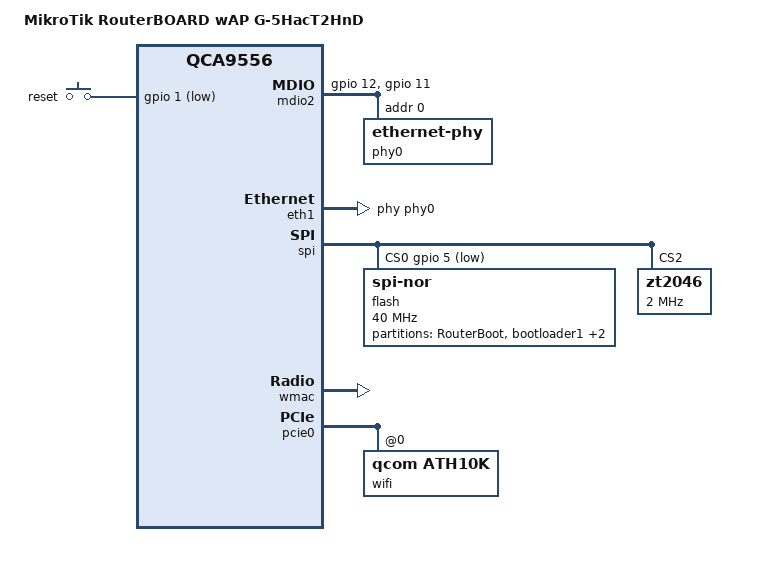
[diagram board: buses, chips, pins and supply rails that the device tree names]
// SPDX-License-Identifier: GPL-2.0-or-later OR MIT

#include "qca955x.dtsi"

#include <dt-bindings/gpio/gpio.h>
#include <dt-bindings/input/input.h>
#include <dt-bindings/interrupt-controller/irq.h>

/ {
	compatible = "mikrotik,routerboard-wap-g-5hact2hnd", "qca,qca9556";
	model = "MikroTik RouterBOARD wAP G-5HacT2HnD";

	chosen {
		bootargs = "console=ttyS0,115200n8 dyndbg=\"file drivers/net/phy/at803x.c +p\"";
	};

	aliases {
		mdio-gpio1 = &mdio2;
	};

	keys {
		compatible = "gpio-keys";

		reset {
			label = "reset";
			linux,code = <KEY_RESTART>;
			gpios = <&gpio 1 GPIO_ACTIVE_LOW>;
			debounce-interval = <60>;
		};
	};

	mdio2: mdio {
		compatible = "virtual,mdio-gpio";

		gpios = <&gpio 12 GPIO_ACTIVE_HIGH>, /* MDC */
			<&gpio 11 GPIO_ACTIVE_HIGH>; /* MDIO */
		#address-cells = <1>;
		#size-cells = <0>;

		phy0: ethernet-phy@0 {
			reg = <0>;
			device_type = "ethernet-phy";

			phy-mode = "sgmii";

			at803x-override-sgmii-link-check;
		};
	};
};

&eth1 {
	status = "okay";

	pll-data = <0x03000101 0x80000101 0x80001313>;
	phy-handle = <&phy0>;

	qca955x-sgmii-fixup;

	gmac-config {
		device = <&gmac>;
	};
};

&spi {
	status = "okay";

	// driver does not support cs-gpios, requires cs2 set via pinmux
	cs-gpios = <&gpio 5 GPIO_ACTIVE_LOW>, <&gpio 17 GPIO_ACTIVE_LOW>;

	flash@0 {
		compatible = "jedec,spi-nor";
		reg = <0>;
		spi-max-frequency = <40000000>;

		partitions {
			compatible = "fixed-partitions";
			#address-cells = <1>;
			#size-cells = <1>;

			partition@0 {
				label = "RouterBoot";
				reg = <0x0 0x20000>;
				compatible = "mikrotik,routerboot-partitions";
				#address-cells = <1>;
				#size-cells = <1>;

				partition@0 {
					label = "bootloader1";
					reg = <0x0 0x0>;
					read-only;
				};

				hard_config {
					read-only;
				};

				bios {
					size = <0x1000>;
					read-only;
				};

				partition@10000 {
					label = "bootloader2";
					reg = <0x10000 0x0>;
					read-only;
				};

				soft_config {
				};
			};

			partition@20000 {
				compatible = "mikrotik,minor";
				label = "firmware";
				reg = <0x020000 0xfe0000>;
			};
		};
	};

	zt2046@2 {
		reg = <2>;
		/* when driver loads, NOR no longer functions (false instant operations, all-zero reads) */
		// compatible = "zt2046q", "ti,ads7846";
		spi-max-frequency = <2000000>;
		pinctrl-names = "default";
		pinctrl-0 = <&pinmux_spi_cs2>;
		/* driver requires irq & pendown gpio.
		 * provide two unused GPIOs as dummy
		 */
		// interrupts-extended = <&gpio 22 IRQ_TYPE_NONE>;
		// pendown-gpio = <&gpio 23 GPIO_ACTIVE_LOW>;
	};
};

&wmac {
	status = "okay";

	qca,no-eeprom;
};

&pcie0 {
	status = "okay";

	wifi@0,0 {
		compatible = "qcom,ath10k";
		reg = <0 0 0 0 0>;
	};
};

&pinmux {
	pinmux_spi_cs2: pinmux_spi_cs2 {
		/* set SoC GPIOs functions
		 * each GPIO output function register holds 4 gpios,
		 * 8 bits per GPIO
		 * GPIO17 at register 0x1804003c (offset 0x10)
		 * to function 0xb (CS2),
		 * with mask 0x0000ff00 (do not alter GPIOS 16,18,19)
		 */
		pinctrl-single,bits = <((17>>4)*4) (0xb<<((17%4)*8)) (0xff<<((17%4)*8))>;
	};
};
